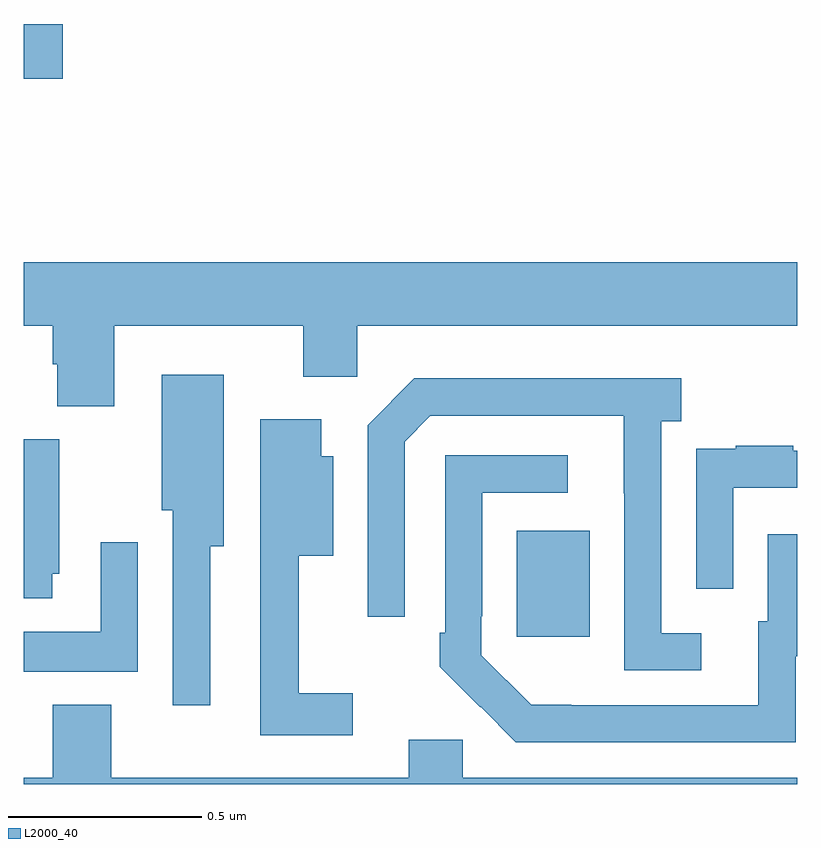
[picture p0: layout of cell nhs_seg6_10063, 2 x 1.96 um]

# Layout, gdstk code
import gdstk
lib = gdstk.Library(unit=1e-6, precision=1e-09)
def R(c, l, rs):  # rectangles x0, y0, x1, y1
    for r in rs: c.add(gdstk.rectangle(r[:2], r[2:], *l))
def P(c, l, *ps):  # polygons
    for p in ps: c.add(gdstk.Polygon(p, *l))
L2000_40 = (2000, 40)

nhs_seg6_10063 = lib.new_cell('nhs_seg6_10063')
R(nhs_seg6_10063, L2000_40, [(243.275,931.881,243.463,932.155), (242,933.322,242.101,933.464)])
P(nhs_seg6_10063, L2000_40, [(242.235,932.684),(242.723,932.684),(242.723,932.553),(242.862,932.553),(242.862,932.684),(244,932.684),(244,932.848),(242,932.848),(242,932.684),(242.075,932.684),(242.075,932.585),(242.087,932.585),(242.087,932.476),(242.235,932.476)],
  [(242.482,932.114),(242.518,932.114),(242.518,932.557),(242.357,932.557),(242.357,932.208),(242.385,932.208),(242.385,931.704),(242.482,931.704)],
  [(243.751,931.89),(243.648,931.89),(243.648,932.438),(243.7,932.438),(243.7,932.548),(243.01,932.548),(242.889,932.427),(242.889,931.932),(242.985,931.932),(242.985,932.385),(243.051,932.451),(243.551,932.451),(243.551,932.251),(243.552,932.251),(243.552,931.794),(243.751,931.794)],
  [(242.851,931.735),(242.711,931.735),(242.711,932.09),(242.8,932.09),(242.8,932.347),(242.77,932.347),(242.77,932.443),(242.612,932.443),(242.612,931.626),(242.851,931.626)],
  [(242.074,932.043),(242.092,932.043),(242.092,932.391),(242,932.391),(242,931.98),(242.074,931.98)],
  [(243.834,932.265),(244,932.265),(244,932.361),(243.989,932.361),(243.989,932.374),(243.841,932.374),(243.841,932.367),(243.739,932.367),(243.739,932.258),(243.738,932.258),(243.738,932.004),(243.834,932.004)],
  [(243.996,931.83),(244,931.83),(244,932.146),(243.923,932.146),(243.923,931.92),(243.899,931.92),(243.899,931.704),(243.415,931.704),(243.415,931.705),(243.312,931.705),(243.183,931.833),(243.183,931.933),(243.186,931.933),(243.186,932.253),(243.406,932.253),(243.406,932.349),(243.09,932.349),(243.09,931.891),(243.075,931.891),(243.075,931.803),(243.18,931.698),(243.181,931.699),(243.272,931.608),(243.996,931.608)],
  [(242.295,932.125),(242.199,932.125),(242.199,931.894),(242,931.894),(242,931.79),(242.295,931.79)],
  [(244,931.516),(243.135,931.516),(243.135,931.614),(242.996,931.614),(242.996,931.516),(242.227,931.516),(242.227,931.705),(242.075,931.705),(242.075,931.516),(242,931.516),(242,931.5),(244,931.5)])

lib.write_gds('nhs_seg6_10063.gds')
